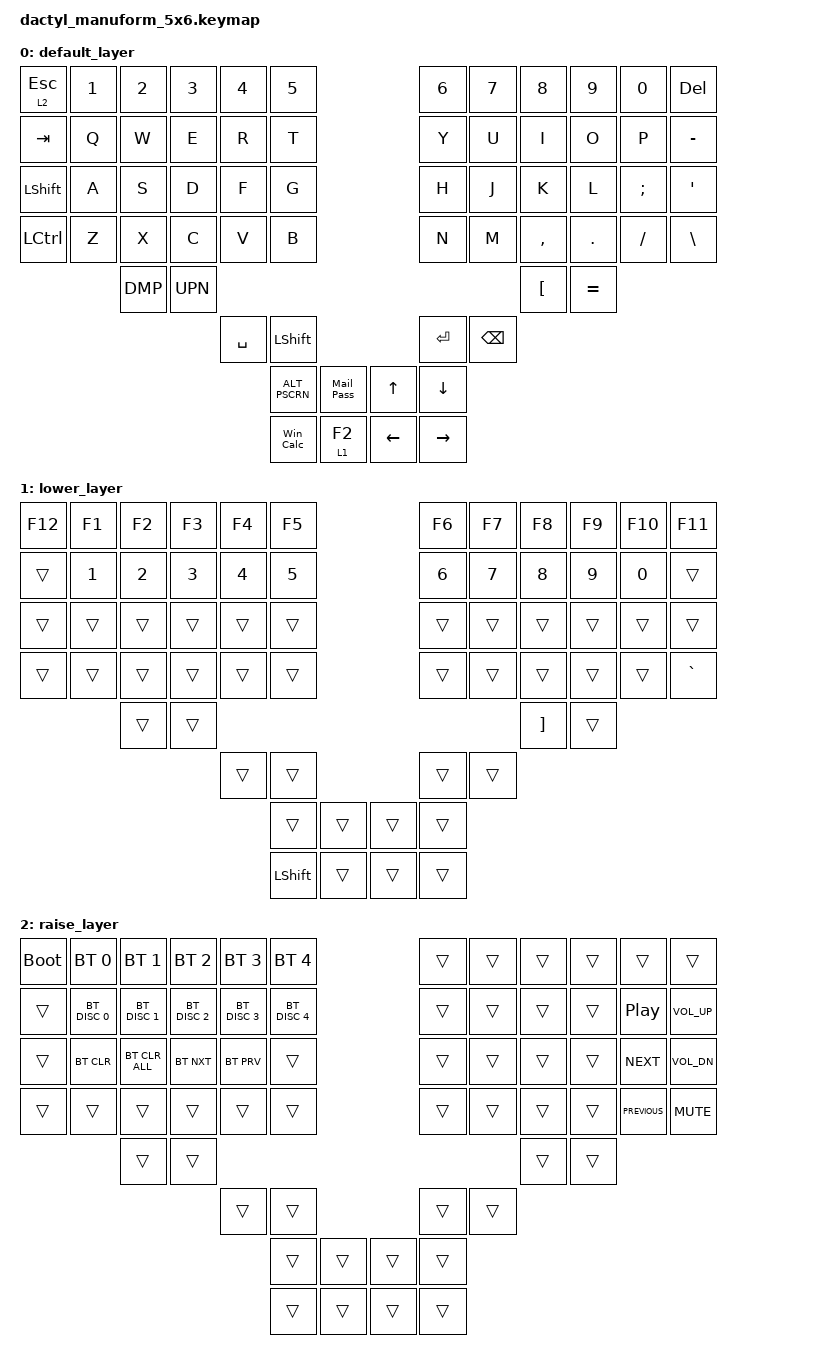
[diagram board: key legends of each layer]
#include <behaviors.dtsi>
#include <dt-bindings/zmk/bt.h>
#include <dt-bindings/zmk/keys.h>

#define DEFAULT 0
#define LWR 1
#define RSE 2
#define ADJ 3

/ {
    macros {
        Mail: Mail {
            compatible = "zmk,behavior-macro";
            #binding-cells = <0>;
            bindings = <&none &kp A &kp B &kp C &kp D>;
        };

        Pass: Pass {
            compatible = "zmk,behavior-macro";
            #binding-cells = <0>;
            bindings = <&none &kp A &kp B &kp C &kp D>;
        };

        Maybe: Maybe {
            compatible = "zmk,behavior-macro";
            #binding-cells = <0>;
            bindings =
                <&macro_press>,
                <&mo 1>,
                <&macro_release>,
                <&tog 0>,
                <&macro_tap>,
                <&Mail_Pass>;

        };

        Login: Login {
            compatible = "zmk,behavior-macro";
            #binding-cells = <0>;
            bindings = <&none &kp A &kp B &kp C &kp D>;
        };
    };

    behaviors {
        Mail_Pass: Mail_Pass {
            compatible = "zmk,behavior-tap-dance";
            #binding-cells = <0>;
            bindings = <&Mail>, <&Pass>;
        };

        DMP: DMP {
            compatible = "zmk,behavior-tap-dance";
            #binding-cells = <0>;
            bindings = <&kp C_VOL_DN>, <&kp C_MUTE>, <&kp C_PREVIOUS>;
        };

        UPN: UPN {
            compatible = "zmk,behavior-tap-dance";
            #binding-cells = <0>;
            bindings = <&kp C_VOLUME_UP>, <&kp C_PLAY_PAUSE>, <&kp C_NEXT>;
        };

        Win_Calc: Win_Calc {
            compatible = "zmk,behavior-tap-dance";
            #binding-cells = <0>;
            bindings = <&kp LEFT_GUI>, <&kp C_AL_CALC>;
        };

        ALT_PSCRN: ALT_PSCRN {
            compatible = "zmk,behavior-tap-dance";
            #binding-cells = <0>;
            bindings = <&kp LEFT_ALT>, <&kp PRINTSCREEN>;
        };
    };

    combos {
        compatible = "zmk,combos";

        BootL {
            bindings = <&bootloader>;
            key-positions = <16 15 24 36>;
        };

        Pass {
            bindings = <&Login>;
            key-positions = <36 0 1 24>;
        };
    };

    keymap {
        compatible = "zmk,keymap";

        default_layer {
            bindings = <
&lt 2 ESC  &kp N1  &kp N2  &kp N3  &kp N4     &kp N5                                  &kp N6           &kp N7         &kp N8            &kp N9     &kp N0     &kp DEL
&kp TAB    &kp Q   &kp W   &kp E   &kp R      &kp T                                   &kp Y            &kp U          &kp I             &kp O      &kp P      &kp MINUS
&kp LSHFT  &kp A   &kp S   &kp D   &kp F      &kp G                                   &kp H            &kp J          &kp K             &kp L      &kp SEMI   &kp SQT
&kp LCTRL  &kp Z   &kp X   &kp C   &kp V      &kp B                                   &kp N            &kp M          &kp COMMA         &kp DOT    &kp SLASH  &kp BACKSLASH
                   &DMP    &UPN                                                                                       &kp LEFT_BRACKET  &kp EQUAL
                                   &kp SPACE  &kp LSHFT                               &kp RET          &kp BACKSPACE
                                              &ALT_PSCRN  &Mail_Pass  &kp UP_ARROW    &kp DOWN_ARROW
                                              &Win_Calc   &lt 1 F2    &kp LEFT_ARROW  &kp RIGHT_ARROW
            >;
        };

        lower_layer {
            bindings = <
&kp F12  &kp F1        &kp F2        &kp F3        &kp F4        &kp F5                          &kp F6        &kp F7  &kp F8             &kp F9  &kp F10  &kp F11
&trans   &kp NUMBER_1  &kp NUMBER_2  &kp NUMBER_3  &kp NUMBER_4  &kp N5                          &kp NUMBER_6  &kp N7  &kp N8             &kp N9  &kp N0   &trans
&trans   &trans        &trans        &trans        &trans        &trans                          &trans        &trans  &trans             &trans  &trans   &trans
&trans   &trans        &trans        &trans        &trans        &trans                          &trans        &trans  &trans             &trans  &trans   &kp GRAVE
                       &trans        &trans                                                                            &kp RIGHT_BRACKET  &trans
                                                   &trans        &trans                          &trans        &trans
                                                                 &trans          &trans  &trans  &trans
                                                                 &kp LEFT_SHIFT  &trans  &trans  &trans
            >;
        };

        raise_layer {
            bindings = <
&bootloader  &bt BT_SEL 0   &bt BT_SEL 1    &bt BT_SEL 2   &bt BT_SEL 3   &bt BT_SEL 4                   &trans  &trans  &trans  &trans  &trans            &trans
&trans       &bt BT_DISC 0  &bt BT_DISC 1   &bt BT_DISC 2  &bt BT_DISC 3  &bt BT_DISC 4                  &trans  &trans  &trans  &trans  &kp C_PLAY_PAUSE  &kp K_VOL_UP
&trans       &bt BT_CLR     &bt BT_CLR_ALL  &bt BT_NXT     &bt BT_PRV     &trans                         &trans  &trans  &trans  &trans  &kp C_NEXT        &kp K_VOL_DN
&trans       &trans         &trans          &trans         &trans         &trans                         &trans  &trans  &trans  &trans  &kp C_PREVIOUS    &kp K_MUTE
                            &trans          &trans                                                                       &trans  &trans
                                                           &trans         &trans                         &trans  &trans
                                                                          &trans         &trans  &trans  &trans
                                                                          &trans         &trans  &trans  &trans
            >;
        };
    };
};
